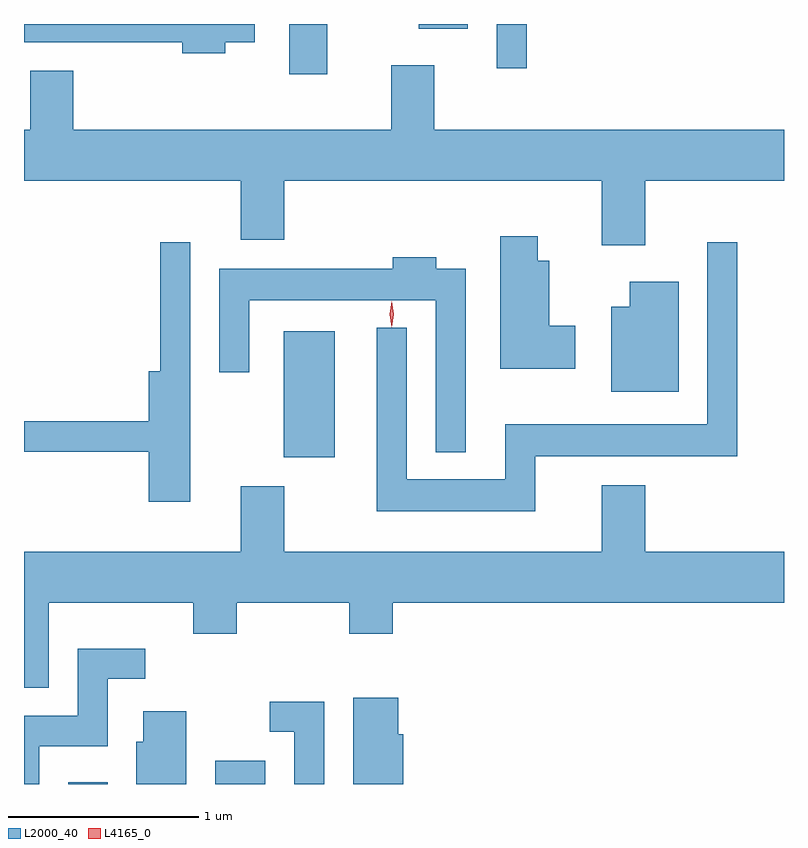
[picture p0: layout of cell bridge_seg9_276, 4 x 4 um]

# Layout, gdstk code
import gdstk
lib = gdstk.Library(unit=1e-6, precision=1e-09)
def R(c, l, rs):  # rectangles x0, y0, x1, y1
    for r in rs: c.add(gdstk.rectangle(r[:2], r[2:], *l))
def P(c, l, *ps):  # polygons
    for p in ps: c.add(gdstk.Polygon(p, *l))
L2000_40 = (2000, 40)
L4165_0 = (4165, 0)

bridge_seg9_276 = lib.new_cell('bridge_seg9_276')
R(bridge_seg9_276, L2000_40, [(1018.141,2068.561,1018.349,2068.569), (1018.916,2068.561,1019.179,2068.684), (1019.276,2070.281,1019.544,2070.944), (1019.306,2072.296,1019.504,2072.561), (1020.396,2072.327,1020.554,2072.561), (1019.986,2072.536,1020.244,2072.561)])
P(bridge_seg9_276, L2000_40, [(1018.969,2072.466),(1019.124,2072.466),(1019.124,2072.561),(1017.909,2072.561),(1017.909,2072.466),(1018.741,2072.466),(1018.741,2072.406),(1018.969,2072.406)],
  [(1021.179,2071.736),(1021.909,2071.736),(1021.909,2072.004),(1020.069,2072.004),(1020.069,2072.344),(1019.841,2072.344),(1019.841,2072.004),(1018.169,2072.004),(1018.169,2072.314),(1017.941,2072.314),(1017.941,2072.004),(1017.909,2072.004),(1017.909,2071.736),(1019.051,2071.736),(1019.051,2071.426),(1019.279,2071.426),(1019.279,2071.736),(1020.951,2071.736),(1020.951,2071.396),(1021.179,2071.396)],
  [(1020.809,2070.974),(1020.674,2070.974),(1020.674,2071.314),(1020.614,2071.314),(1020.614,2071.444),(1020.416,2071.444),(1020.416,2070.746),(1020.809,2070.746)],
  [(1020.599,2070.286),(1021.664,2070.286),(1021.664,2071.413),(1021.506,2071.413),(1021.506,2070.454),(1020.441,2070.454),(1020.441,2070.164),(1019.924,2070.164),(1019.924,2070.963),(1019.766,2070.963),(1019.766,2069.996),(1020.599,2069.996)],
  [(1018.784,2071.413),(1018.626,2071.413),(1018.626,2070.734),(1018.566,2070.734),(1018.566,2070.469),(1017.909,2070.469),(1017.909,2070.311),(1018.566,2070.311),(1018.566,2070.046),(1018.784,2070.046)],
  [(1020.234,2071.274),(1020.079,2071.274),(1020.079,2071.334),(1019.851,2071.334),(1019.851,2071.274),(1018.936,2071.274),(1018.936,2070.728),(1019.094,2070.728),(1019.094,2071.106),(1020.076,2071.106),(1020.076,2070.308),(1020.234,2070.308)],
  [(1021.354,2071.204),(1021.096,2071.204),(1021.096,2071.074),(1021.001,2071.074),(1021.001,2070.626),(1021.354,2070.626)],
  [(1018.039,2069.516),(1018.801,2069.516),(1018.801,2069.351),(1019.029,2069.351),(1019.029,2069.516),(1019.621,2069.516),(1019.621,2069.351),(1019.849,2069.351),(1019.849,2069.516),(1021.909,2069.516),(1021.909,2069.784),(1021.179,2069.784),(1021.179,2070.134),(1020.951,2070.134),(1020.951,2069.784),(1019.279,2069.784),(1019.279,2070.129),(1019.051,2070.129),(1019.051,2069.784),(1017.909,2069.784),(1017.909,2069.068),(1018.039,2069.068)],
  [(1017.989,2068.761),(1018.349,2068.761),(1018.349,2069.116),(1018.548,2069.116),(1018.548,2069.274),(1018.191,2069.274),(1018.191,2068.919),(1017.909,2068.919),(1017.909,2068.561),(1017.989,2068.561)],
  [(1019.904,2068.824),(1019.879,2068.824),(1019.879,2069.014),(1019.641,2069.014),(1019.641,2068.561),(1019.904,2068.561)],
  [(1019.489,2068.994),(1019.203,2068.994),(1019.203,2068.836),(1019.331,2068.836),(1019.331,2068.561),(1019.489,2068.561)],
  [(1018.764,2068.944),(1018.536,2068.944),(1018.536,2068.784),(1018.501,2068.784),(1018.501,2068.561),(1018.764,2068.561)])
P(bridge_seg9_276, L4165_0, [(1019.844,2070.964),(1019.844,2070.964),(1019.834,2071.033),(1019.844,2071.102),(1019.844,2071.103),(1019.845,2071.102),(1019.854,2071.033),(1019.845,2070.964)],
  [(1019.845,2070.967),(1019.844,2070.968),(1019.835,2071.034),(1019.844,2071.1),(1019.845,2071.1),(1019.845,2071.1),(1019.855,2071.034),(1019.845,2070.968)])

lib.write_gds('bridge_seg9_276.gds')
